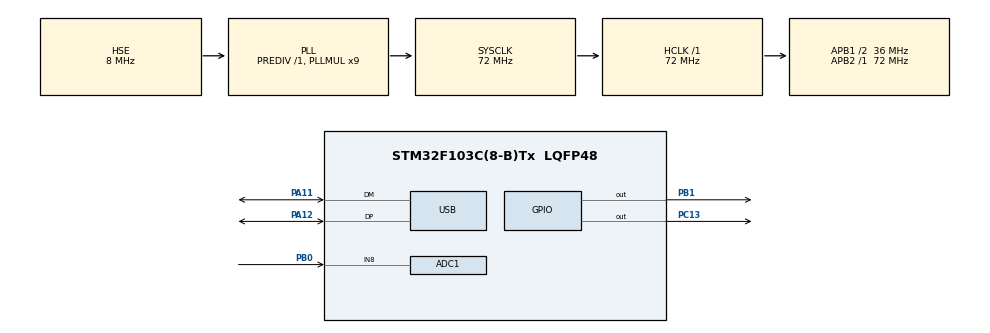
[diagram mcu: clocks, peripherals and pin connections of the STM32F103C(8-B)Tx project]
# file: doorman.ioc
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ADC1.Channel-24\#ChannelRegularConversion=ADC_CHANNEL_8
ADC1.NbrOfConversionFlag=1
ADC1.Rank-24\#ChannelRegularConversion=1
ADC1.SamplingTime-24\#ChannelRegularConversion=ADC_SAMPLETIME_1CYCLE_5
ADC1.master=1
Mcu.Family=STM32F1
Mcu.Name=STM32F103C(8-B)Tx
Mcu.Package=LQFP48
NVIC.PriorityGroup=NVIC_PRIORITYGROUP_4
NVIC.USB_LP_CAN1_RX0_IRQn=true\:0\:0\:false\:false\:true\:false
PA11.Mode=Device
PA11.Signal=USB_DM
PA12.Mode=Device
PA12.Signal=USB_DP
PA13.Mode=Serial_Wire
PA13.Signal=SYS_JTMS-SWDIO
PA14.Mode=Serial_Wire
PA14.Signal=SYS_JTCK-SWCLK
PB0.Signal=ADCx_IN8
PB1.Signal=GPIO_Output
PC13-TAMPER-RTC.PinState=GPIO_PIN_RESET
PC13-TAMPER-RTC.Signal=GPIO_Output
PD0-OSC_IN.Mode=HSE-External-Oscillator
PD0-OSC_IN.Signal=RCC_OSC_IN
PD1-OSC_OUT.Mode=HSE-External-Oscillator
PD1-OSC_OUT.Signal=RCC_OSC_OUT
ProjectManager.HeapSize=0x200
ProjectManager.StackSize=0x400
ProjectManager.TargetToolchain=Makefile
RCC.ADCPresc=RCC_ADCPCLK2_DIV6
RCC.AHBFreq_Value=72000000
RCC.APB1CLKDivider=RCC_HCLK_DIV2
RCC.APB1Freq_Value=36000000
RCC.APB1TimFreq_Value=72000000
RCC.APB2Freq_Value=72000000
RCC.APB2TimFreq_Value=72000000
RCC.HCLKFreq_Value=72000000
RCC.PLLMUL=RCC_PLL_MUL9
RCC.SYSCLKFreq_VALUE=72000000
RCC.SYSCLKSource=RCC_SYSCLKSOURCE_PLLCLK
RCC.USBFreq_Value=48000000
RCC.USBPrescaler=RCC_USBCLKSOURCE_PLL_DIV1_5
SH.ADCx_IN8.0=ADC1_IN8,IN8
USB_DEVICE.CLASS_NAME_FS=CUSTOMHID
USB_DEVICE.CONFIGURATION_STRING_CUSTOMHID_FS=A
USB_DEVICE.INTERFACE_STRING_CUSTOMHID_FS=A
USB_DEVICE.PID_CUSTOMHID_FS=0x3389
USB_DEVICE.PRODUCT_STRING_CUSTOMHID_FS=Doorman Controller
USB_DEVICE.SERIALNUMBER_STRING_CUSTOMHID_FS=000000000001
USB_DEVICE.USBD_CUSTOMHID_OUTREPORT_BUF_SIZE=8
USB_DEVICE.USBD_CUSTOM_HID_REPORT_DESC_SIZE=33
USB_DEVICE.VirtualMode=CustomHid
USB_DEVICE.VirtualModeFS=Custom_Hid_FS
VP_CRC_VS_CRC.Mode=CRC_Activate
VP_USB_DEVICE_VS_USB_DEVICE_CUSTOM_HID_FS.Mode=CUSTOM_HID_FS
board=doorman

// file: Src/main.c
/**
  ******************************************************************************
  * File Name          : main.c
  * Description        : Main program body
  ******************************************************************************
  * This notice applies to any and all portions of this file
  * that are not between comment pairs USER CODE BEGIN and
  * USER CODE END. Other portions of this file, whether
  * inserted by the user or by software development tools
  * are owned by their respective copyright owners.
  *
  * Copyright (c) 2018 STMicroelectronics International N.V.
  * All rights reserved.
  *
  * Redistribution and use in source and binary forms, with or without
  * modification, are permitted, provided that the following conditions are met:
  *
  * 1. Redistribution of source code must retain the above copyright notice,
  *    this list of conditions and the following disclaimer.
  * 2. Redistributions in binary form must reproduce the above copyright notice,
  *    this list of conditions and the following disclaimer in the documentation
  *    and/or other materials provided with the distribution.
  * 3. Neither the name of STMicroelectronics nor the names of other
  *    contributors to this software may be used to endorse or promote products
  *    derived from this software without specific written permission.
  * 4. This software, including modifications and/or derivative works of this
  *    software, must execute solely and exclusively on microcontroller or
  *    microprocessor devices manufactured by or for STMicroelectronics.
  * 5. Redistribution and use of this software other than as permitted under
  *    this license is void and will automatically terminate your rights under
  *    this license.
  *
  * THIS SOFTWARE IS PROVIDED BY STMICROELECTRONICS AND CONTRIBUTORS "AS IS"
  * AND ANY EXPRESS, IMPLIED OR STATUTORY WARRANTIES, INCLUDING, BUT NOT
  * LIMITED TO, THE IMPLIED WARRANTIES OF MERCHANTABILITY, FITNESS FOR A
  * PARTICULAR PURPOSE AND NON-INFRINGEMENT OF THIRD PARTY INTELLECTUAL PROPERTY
  * RIGHTS ARE DISCLAIMED TO THE FULLEST EXTENT PERMITTED BY LAW. IN NO EVENT
  * SHALL STMICROELECTRONICS OR CONTRIBUTORS BE LIABLE FOR ANY DIRECT, INDIRECT,
  * INCIDENTAL, SPECIAL, EXEMPLARY, OR CONSEQUENTIAL DAMAGES (INCLUDING, BUT NOT
  * LIMITED TO, PROCUREMENT OF SUBSTITUTE GOODS OR SERVICES; LOSS OF USE, DATA,
  * OR PROFITS; OR BUSINESS INTERRUPTION) HOWEVER CAUSED AND ON ANY THEORY OF
  * LIABILITY, WHETHER IN CONTRACT, STRICT LIABILITY, OR TORT (INCLUDING
  * NEGLIGENCE OR OTHERWISE) ARISING IN ANY WAY OUT OF THE USE OF THIS SOFTWARE,
  * EVEN IF ADVISED OF THE POSSIBILITY OF SUCH DAMAGE.
  *
  ******************************************************************************
  */

#include "main.h"
#include "stm32f1xx_hal.h"
#include "usb_device.h"

/* USER CODE BEGIN Includes */

#include<stdlib.h>

#include "usbd_custom_hid_if.h"

#include "wos.h"

/* USER CODE END Includes */

ADC_HandleTypeDef hadc1;

CRC_HandleTypeDef hcrc;

/* USER CODE BEGIN PV */
/* Private variables ---------------------------------------------------------*/

/* USER CODE END PV */

void SystemClock_Config(void);
static void MX_GPIO_Init(void);
static void MX_CRC_Init(void);
static void MX_ADC1_Init(void);

/* USER CODE BEGIN PFP */
/* Private function prototypes -----------------------------------------------*/

/* USER CODE END PFP */

/* USER CODE BEGIN 0 */

#define CTLR_ID 0x00000000  // Edit this to make it unique
#define SEC_KEY 0x12345678  // Should be unique too

#define OP_QURYID 0
#define OP_GENTKN 1
#define OP_ATHOPN 2
#define OP_FRCOPN 3

#define REP_OK 0
#define REP_NO 1

typedef struct {
  uint32_t op;
  uint32_t data;
} usb_cmd_t;

static uint32_t latest_rand = 0;

uint16_t usb_rx_queue = 0;

static uint16_t door_op_queue = 0;

static int verify_sign(uint32_t token, uint32_t sign) {
  uint32_t buf[] = {SEC_KEY, token};
  uint32_t csign = HAL_CRC_Calculate(&hcrc, buf, 2);
  return sign == csign ? 0 : 1;
}

static void usb_echo_task(void *arg) {
  usb_cmd_t cmd;
  for (;;) {
    if (queue_pull(usb_rx_queue, &cmd, NO_TIMEOUT) < 0) {
      continue;
    }
    switch (cmd.op) {
    case OP_QURYID:
      cmd.data = CTLR_ID;
      USBD_CUSTOM_HID_SendReport(&hUsbDeviceFS, &cmd, sizeof(usb_cmd_t));
      break;
    case OP_GENTKN:
      cmd.data = latest_rand = rand();
      USBD_CUSTOM_HID_SendReport(&hUsbDeviceFS, &cmd, sizeof(usb_cmd_t));
      break;
    case OP_ATHOPN:
      if (latest_rand == 0 || verify_sign(latest_rand, cmd.data) != 0) {
        latest_rand = 0;
        cmd.data = REP_NO;
        USBD_CUSTOM_HID_SendReport(&hUsbDeviceFS, &cmd, sizeof(usb_cmd_t));
        break;
      }
      latest_rand = 0;
    case OP_FRCOPN:
      if (CTLR_ID == 0) {
        cmd.data = REP_OK;
        queue_push(door_op_queue, "", 0);
      } else {
        cmd.data = REP_NO;
      }
      USBD_CUSTOM_HID_SendReport(&hUsbDeviceFS, &cmd, sizeof(usb_cmd_t));
      break;
    }
  }
}

static void door_task(void *arg) {
  for (;;) {
    if (queue_pull(door_op_queue, "", NO_TIMEOUT) < 0) {
      continue;
    }
    // HAL_GPIO_WritePin(GPIOB, GPIO_PIN_1, GPIO_PIN_SET);
    HAL_GPIO_WritePin(GPIOC, GPIO_PIN_13, GPIO_PIN_SET);
    task_sleep(1000);
    // HAL_GPIO_WritePin(GPIOB, GPIO_PIN_1, GPIO_PIN_RESET);
    HAL_GPIO_WritePin(GPIOC, GPIO_PIN_13, GPIO_PIN_RESET);
  }
}

/* USER CODE END 0 */

int main(void)
{

  /* MCU Configuration----------------------------------------------------------*/

  /* Reset of all peripherals, Initializes the Flash interface and the Systick. */
  HAL_Init();

  /* Configure the system clock */
  SystemClock_Config();

  /* Initialize all configured peripherals */
  MX_GPIO_Init();
  MX_USB_DEVICE_Init();
  MX_CRC_Init();
  MX_ADC1_Init();

  /* USER CODE BEGIN 2 */
  task_create(usb_echo_task, (void *)0, 0x400, 0);
  task_create(door_task, (void *)0, 0x400, 0);
  usb_rx_queue = queue_create(sizeof(usb_cmd_t), 1);
  door_op_queue = queue_create(0, 1);

  uint32_t seed = 0;
  for(int i = 0; i < 4; i++){
    HAL_ADC_Start(&hadc1);
    HAL_ADC_PollForConversion(&hadc1, 0xffff);
    seed <<= 4;
    seed += HAL_ADC_GetValue(&hadc1) & 0x000f;
  }
  HAL_ADC_Stop(&hadc1);
  srand(seed);

  latest_rand = rand();

  os_start();
  /* USER CODE END 2 */

  /* Infinite loop */
  while (1)
  {

  }

}

/** System Clock Configuration
*/
void SystemClock_Config(void)
{

  RCC_OscInitTypeDef RCC_OscInitStruct;
  RCC_ClkInitTypeDef RCC_ClkInitStruct;
  RCC_PeriphCLKInitTypeDef PeriphClkInit;

    /**Initializes the CPU, AHB and APB busses clocks
    */
  RCC_OscInitStruct.OscillatorType = RCC_OSCILLATORTYPE_HSE;
  RCC_OscInitStruct.HSEState = RCC_HSE_ON;
  RCC_OscInitStruct.HSEPredivValue = RCC_HSE_PREDIV_DIV1;
  RCC_OscInitStruct.HSIState = RCC_HSI_ON;
  RCC_OscInitStruct.PLL.PLLState = RCC_PLL_ON;
  RCC_OscInitStruct.PLL.PLLSource = RCC_PLLSOURCE_HSE;
  RCC_OscInitStruct.PLL.PLLMUL = RCC_PLL_MUL9;
  if (HAL_RCC_OscConfig(&RCC_OscInitStruct) != HAL_OK)
  {
    _Error_Handler(__FILE__, __LINE__);
  }

    /**Initializes the CPU, AHB and APB busses clocks
    */
  RCC_ClkInitStruct.ClockType = RCC_CLOCKTYPE_HCLK|RCC_CLOCKTYPE_SYSCLK
                              |RCC_CLOCKTYPE_PCLK1|RCC_CLOCKTYPE_PCLK2;
  RCC_ClkInitStruct.SYSCLKSource = RCC_SYSCLKSOURCE_PLLCLK;
  RCC_ClkInitStruct.AHBCLKDivider = RCC_SYSCLK_DIV1;
  RCC_ClkInitStruct.APB1CLKDivider = RCC_HCLK_DIV2;
  RCC_ClkInitStruct.APB2CLKDivider = RCC_HCLK_DIV1;

  if (HAL_RCC_ClockConfig(&RCC_ClkInitStruct, FLASH_LATENCY_2) != HAL_OK)
  {
    _Error_Handler(__FILE__, __LINE__);
  }

  PeriphClkInit.PeriphClockSelection = RCC_PERIPHCLK_ADC|RCC_PERIPHCLK_USB;
  PeriphClkInit.AdcClockSelection = RCC_ADCPCLK2_DIV6;
  PeriphClkInit.UsbClockSelection = RCC_USBCLKSOURCE_PLL_DIV1_5;
  if (HAL_RCCEx_PeriphCLKConfig(&PeriphClkInit) != HAL_OK)
  {
    _Error_Handler(__FILE__, __LINE__);
  }

    /**Configure the Systick interrupt time
    */
  HAL_SYSTICK_Config(HAL_RCC_GetHCLKFreq()/1000);

    /**Configure the Systick
    */
  HAL_SYSTICK_CLKSourceConfig(SYSTICK_CLKSOURCE_HCLK);

  /* SysTick_IRQn interrupt configuration */
  HAL_NVIC_SetPriority(SysTick_IRQn, 0, 0);
}

/* ADC1 init function */
static void MX_ADC1_Init(void)
{

  ADC_ChannelConfTypeDef sConfig;

    /**Common config
    */
  hadc1.Instance = ADC1;
  hadc1.Init.ScanConvMode = ADC_SCAN_DISABLE;
  hadc1.Init.ContinuousConvMode = DISABLE;
  hadc1.Init.DiscontinuousConvMode = DISABLE;
  hadc1.Init.ExternalTrigConv = ADC_SOFTWARE_START;
  hadc1.Init.DataAlign = ADC_DATAALIGN_RIGHT;
  hadc1.Init.NbrOfConversion = 1;
  if (HAL_ADC_Init(&hadc1) != HAL_OK)
  {
    _Error_Handler(__FILE__, __LINE__);
  }

    /**Configure Regular Channel
    */
  sConfig.Channel = ADC_CHANNEL_8;
  sConfig.Rank = 1;
  sConfig.SamplingTime = ADC_SAMPLETIME_1CYCLE_5;
  if (HAL_ADC_ConfigChannel(&hadc1, &sConfig) != HAL_OK)
  {
    _Error_Handler(__FILE__, __LINE__);
  }

}

/* CRC init function */
static void MX_CRC_Init(void)
{

  hcrc.Instance = CRC;
  if (HAL_CRC_Init(&hcrc) != HAL_OK)
  {
    _Error_Handler(__FILE__, __LINE__);
  }

}

/** Configure pins as
        * Analog
        * Input
        * Output
        * EVENT_OUT
        * EXTI
*/
static void MX_GPIO_Init(void)
{

  GPIO_InitTypeDef GPIO_InitStruct;

  /* GPIO Ports Clock Enable */
  __HAL_RCC_GPIOC_CLK_ENABLE();
  __HAL_RCC_GPIOD_CLK_ENABLE();
  __HAL_RCC_GPIOB_CLK_ENABLE();
  __HAL_RCC_GPIOA_CLK_ENABLE();

  /*Configure GPIO pin Output Level */
  HAL_GPIO_WritePin(GPIOC, GPIO_PIN_13, GPIO_PIN_RESET);

  /*Configure GPIO pin Output Level */
  HAL_GPIO_WritePin(GPIOB, GPIO_PIN_1, GPIO_PIN_RESET);

  /*Configure GPIO pin : PC13 */
  GPIO_InitStruct.Pin = GPIO_PIN_13;
  GPIO_InitStruct.Mode = GPIO_MODE_OUTPUT_PP;
  GPIO_InitStruct.Speed = GPIO_SPEED_FREQ_LOW;
  HAL_GPIO_Init(GPIOC, &GPIO_InitStruct);

  /*Configure GPIO pin : PB1 */
  GPIO_InitStruct.Pin = GPIO_PIN_1;
  GPIO_InitStruct.Mode = GPIO_MODE_OUTPUT_PP;
  GPIO_InitStruct.Speed = GPIO_SPEED_FREQ_LOW;
  HAL_GPIO_Init(GPIOB, &GPIO_InitStruct);

}

void _Error_Handler(char * file, int line)
{
  while(1)
  {
  }
}

/************************ (C) COPYRIGHT STMicroelectronics *****END OF FILE****/
